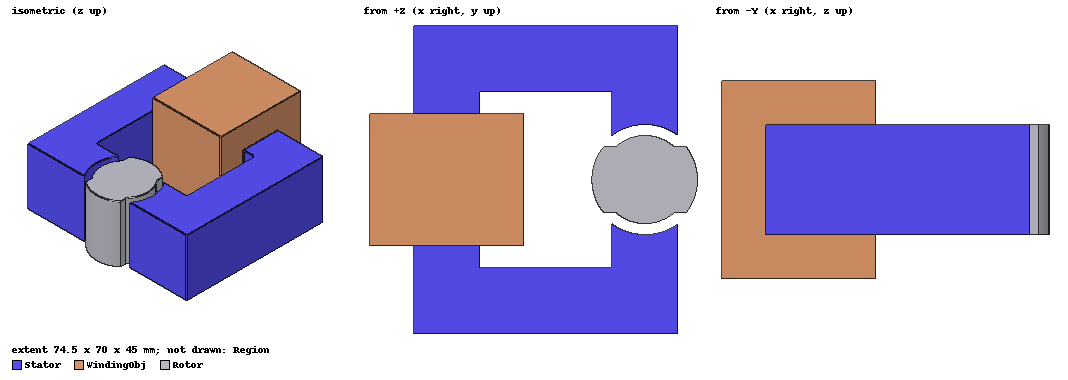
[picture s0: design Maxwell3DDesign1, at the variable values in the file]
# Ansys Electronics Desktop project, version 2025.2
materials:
  vacuum: permittivity=1
  steel_stainless: conductivity=1100000
  copper: permeability=0.999991 conductivity=58000000
  air: permittivity=1.0006 permeability=1.0000004
  steel_1008: permeability{HUnit=A_per_meter BUnit=tesla curve (0, 0) (159.2, 0.2402) (318.3, 0.8654) (477.5, 1.1106) (636.6, 1.2458) (795.8, 1.331) (1591.5, 1.5) (3183.1, 1.6) (4774.6, 1.683) (6366.2, 1.741) (7957.7, 1.78) (15915.5, 1.905) (31831, 2.025) (47746.5, 2.085) (63662, 2.13) (79577.5, 2.165) (159155, 2.28) (318310, 2.485) (397887, 2.5851)} conductivity=2000000

design Maxwell3DDesign1 (Maxwell 3D, Magnetostatic, model units mm)
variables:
  rotorAngle = 0deg
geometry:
  Stator [steel_stainless] = box(corner=(0mm, 0mm, 0mm), size=(15mm, 70mm, 25mm))
  Box2 = box(corner=(15mm, 70mm, 0mm), size=(45mm, -15mm, 25mm))
  Box3 = box(corner=(15mm, 0mm, 0mm), size=(45mm, 15mm, 25mm))
  Box4 = box(corner=(60mm, 55mm, 0mm), size=(-15mm, -40mm, 25mm))
  Stator.unite(Box2, Box3, Box4)
  Cylinder1 = cylinder(axis=Z, base_centre=(52.5mm, 35mm, 25mm), radius=12.5mm, height=-30mm)
  Stator.subtract(Cylinder1)
  Cylinder2 = cylinder(axis=Z, base_centre=(52.5mm, 35mm, 25mm), radius=12mm, height=-25mm)
  Cylinder3 = cylinder(axis=Z, base_centre=(52.5mm, 35mm, 25mm), radius=10mm, height=-25mm)
  Rotor [steel_stainless] = box(corner=(52.5mm, 35mm, 25mm), size=(12.5mm, 7.5mm, -25mm))
  Rectangle1 = rectangle(corner=(52.5mm, 35mm, 25mm), x_size=-12.5mm, y_size=-7.5mm)
  Rectangle1.sweep_along_vector((0mm, -1.4210855e-14mm, -25mm))
  Box6 = box(corner=(52.5mm, 35mm, 25mm), size=(-12.5mm, 7.5mm, -25mm))
  Box7 = box(corner=(52.5mm, 35mm, 25mm), size=(12.5mm, -7.5mm, -25mm))
  Rotor.unite(Box6, Box7, Rectangle1)
  Rotor.unite(Cylinder3)
  Rotor.intersect(Cylinder2)
  WindingObj [copper] = box(corner=(0mm, 50mm, 0mm), size=(-10mm, -30mm, 35mm))
  Box9 = box(corner=(-10mm, 20mm, 0mm), size=(35mm, 30mm, -10mm))
  Box10 = box(corner=(25mm, 20mm, 0mm), size=(-10mm, 30mm, 35mm))
  Box11 = box(corner=(15mm, 20mm, 35mm), size=(-15mm, 30mm, -10mm))
  WindingObj.unite(Box9, Box10, Box11)
  WindingObj_Section1 [copper] = WindingObj.section(plane=YZ)
  WindingObj_Section1.separate_bodies()
  Region [vacuum] = region(percentage_offset=50 on all sides)
  coordinate_system RelativeCS1 = origin=(52.5mm, 35mm, 25mm) x=(1mm, 0mm, 0mm) y=(0mm, 1mm, 0mm)
  Rotor.rotate(axis=Z, angle=rotorAngle) in RelativeCS1
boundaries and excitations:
  Insulating_coil: Insulating Objects=WindingObj
  CoilTerminal2: Coil Terminal Objects=WindingObj_Section1 Conductor_number=1 Winding=Winding1 Point_out_of_terminal=false
  Winding1: Winding Group Type=Current IsSolid=false Current=750A ParallelBranchesNum=1
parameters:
  Matrix1: Matrix Winding1: NumberOfTurns=1
  Torque1: Torque Is_Virtual=true Coordinate_System=Global Axis=Z Is_Positive=true Objects=Rotor
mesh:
  SurfApprox1: SurfApproxBased Objects=[Rotor, Stator] CurvedSurfaceApproxChoice=ManualSettings SurfDev=0.05mm
  initial mesh: GlobalCurvilinear{Apply}
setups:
  Setup1: Magnetostatic MaximumPasses=10 MinimumPasses=2 MinimumConvergedPasses=1 PercentRefinement=30 PercentError=1 NonLinearResidual=0.001
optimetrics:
  ParametricSetup1: Parametric Sim._Setups=[Setup1]
    sweep rotorAngle: LIN 0deg 90deg 45deg
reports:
  L Plot1: Matrix1.L(Winding1,Winding1) vs rotorAngle on Setup1 : LastAdaptive
